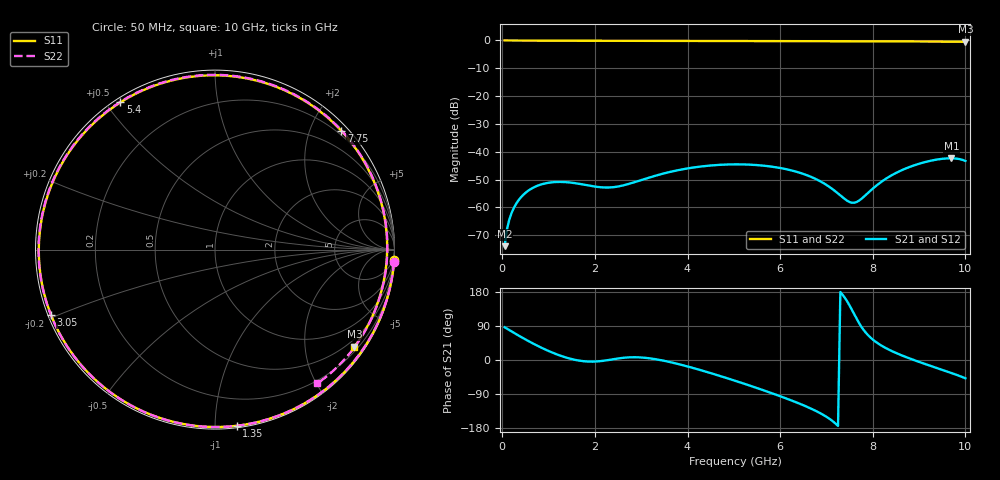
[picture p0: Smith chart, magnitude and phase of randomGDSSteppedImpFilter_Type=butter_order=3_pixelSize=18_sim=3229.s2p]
! freq	dB(S11)	phase(S11)	dB(S12)	phase(S12)
!  dB(S21)	phase(S21)	dB(S22)	phase(S22)
!S-par simulation data
#  GHz  S  DB  R 50
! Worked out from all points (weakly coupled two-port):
!   200 points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, 50 MHz to 10 GHz, reference 50 ohm
!   highest |S21| = -42.35 dB at 9.7 GHz (marker M1); lowest = -73.9 dB at 50 MHz (marker M2)
!   lowest |S11| = -0.5 dB at 10 GHz (marker M3), VSWR 36.69, Z = 15.1 - j158 ohm
!   |S11| at or under -10 dB: nowhere
!   |S22| runs from -0.5 to 0.0 dB; largest |S21 - S12| = 0
!   S11 on the Smith chart (normalised r, x): 50 MHz: 0, -34; 1.35 GHz: 0.01, -1.13; 3.05 GHz: 0.01, -0.19; 5.4 GHz: 0.02, +0.55; 7.75 GHz: 0.13, +2.52; 10 GHz: 0.30, -3.16
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0.05  -0.00 -3.4  -73.92 86.3  -73.92 86.3  -0.00 -4.1
0.1  -0.01 -6.7  -67.92 82.7  -67.92 82.7  -0.01 -8.1
0.15  -0.01 -10.0  -64.45 79.0  -64.45 79.0  -0.02 -12.1
0.25  -0.03 -16.6  -60.15 71.8  -60.15 71.8  -0.03 -20.0
0.4  -0.04 -26.3  -56.40 61.1  -56.40 61.1  -0.05 -31.8
0.85  -0.07 -54.5  -51.69 32.1  -51.69 32.1  -0.08 -64.9
1.35  -0.09 -83.0  -50.89 7.5  -50.89 7.5  -0.10 -96.9
1.75  -0.11 -103.5  -51.77 -3.1  -51.77 -3.1  -0.12 -118.9
2.4  -0.13 -132.7  -52.72 2.1  -52.72 2.1  -0.13 -149.3
3.05  -0.14 -158.2  -49.90 6.2  -49.90 6.2  -0.14 -175.2
3.4  -0.15 -170.8  -48.17 0.2  -48.17 0.2  -0.15 172.0
4.2  -0.18 161.9  -45.48 -23.8  -45.48 -23.8  -0.18 144.5
5.05  -0.21 134.1  -44.52 -55.7  -44.52 -55.7  -0.20 116.3
5.4  -0.22 122.7  -44.68 -69.9  -44.68 -69.9  -0.22 104.7
6.05  -0.24 101.3  -45.99 -97.8  -45.99 -97.8  -0.24 83.0
6.7  -0.27 79.5  -49.25 -130.2  -49.25 -130.2  -0.26 61.0
7.5  -0.29 52.0  -58.07 143.6  -58.07 143.6  -0.29 33.7
7.75  -0.30 43.3  -56.98 88.4  -56.98 88.4  -0.30 25.1
8.35  -0.32 22.3  -49.00 27.2  -49.00 27.2  -0.34 4.6
9  -0.36 -0.4  -44.30 -5.0  -44.30 -5.0  -0.40 -17.4
9.7  -0.43 -24.6  -42.35 -34.4  -42.35 -34.4  -0.49 -41.5
10  -0.47 -34.9  -43.31 -48.2  -43.31 -48.2  -0.55 -52.6
